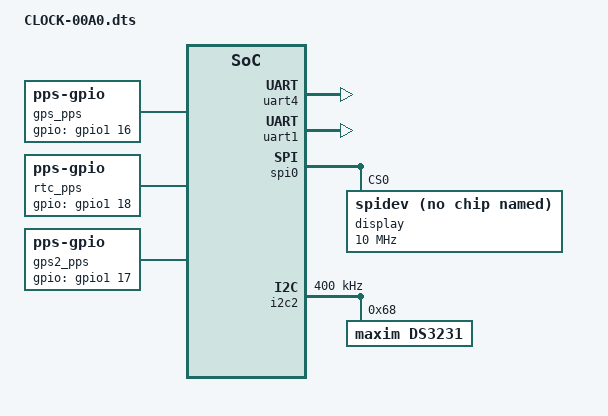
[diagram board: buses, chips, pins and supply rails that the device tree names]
/dts-v1/;
/plugin/;

#include <dt-bindings/board/am335x-bbw-bbb-base.h>
#include <dt-bindings/gpio/gpio.h>
#include <dt-bindings/pinctrl/am33xx.h>

/ {
        compatible = "ti,beaglebone", "ti,beaglebone-black", "ti,beaglebone-green";

        /* identification */
        part-number = "CLOCK";
        version = "00A0";

        exclusive-use =
                "P9.11", "P9.13", "P9.15", "uart4", // gps and pps
                "P9.17", "P9.18", "P9.21", "P9.22", "spi0", // spi display
                "P9.19", "P9.20", "i2c2", "P9.12", "P9.14", // rtc (2 pps pins, DS3231's 32KHz and SQW)
		"P9.24", "P9.26", "P9.23", "uart1"; // gps2 and pps

        fragment@0 {
                target = <&ocp>;
                __overlay__ {
                        P9_11_pinmux { status = "disabled"; };
                        P9_13_pinmux { status = "disabled"; };
                        P9_15_pinmux { status = "disabled"; };

                        P9_17_pinmux { status = "disabled"; };
                        P9_18_pinmux { status = "disabled"; };
                        P9_21_pinmux { status = "disabled"; };
                        P9_22_pinmux { status = "disabled"; };

                        P9_19_pinmux { status = "disabled"; };
                        P9_20_pinmux { status = "disabled"; };
                        P9_12_pinmux { status = "disabled"; };
                        P9_14_pinmux { status = "disabled"; };

                        P9_24_pinmux { status = "disabled"; };
                        P9_26_pinmux { status = "disabled"; };
                        P9_23_pinmux { status = "disabled"; };
                };
        };

        fragment@1 {
                target = <&am33xx_pinmux>;
                __overlay__ {
                        bb_uart4_pins: pinmux_bb_uart4_pins {
                                pinctrl-single,pins = <
                                        BONE_P9_13 (PIN_OUTPUT | MUX_MODE6)
                                        BONE_P9_11 (PIN_INPUT | MUX_MODE6)
                                >;
                        };

                        bb_gps_pps_pins: pinmux_bb_gps_pps_pins {
                                pinctrl-single,pins = <
                                        BONE_P9_15 (PIN_INPUT_PULLDOWN | MUX_MODE7)
                                >;
                        };

			bb_uart1_pins: pinmux_bb_uart1_pins {
                                pinctrl-single,pins = <
                                        BONE_P9_24 (PIN_OUTPUT | MUX_MODE0)
                                        BONE_P9_26 (PIN_INPUT | MUX_MODE0)
                                >;
			};

			bb_gps2_pps_pins: pinmux_bb_gps2_pps_pins {
                                pinctrl-single,pins = <
                                        BONE_P9_23 (PIN_INPUT_PULLDOWN | MUX_MODE7)
                                >;
			};

                        bb_spi0_pins: pinmux_bb_spi0_pins {
                                pinctrl-single,pins = <
                                        BONE_P9_22 (PIN_INPUT_PULLUP | MUX_MODE0)
                                        BONE_P9_21 (PIN_INPUT_PULLUP | MUX_MODE0)
                                        BONE_P9_18 (PIN_OUTPUT_PULLUP | MUX_MODE0)
                                        BONE_P9_17 (PIN_OUTPUT_PULLUP | MUX_MODE0)
                                >;
                        };

                        bb_i2c2_pins: pinmux_bb_i2c2_pins {
                                pinctrl-single,pins = <
                                        BONE_P9_20 (SLEWCTRL_SLOW | PIN_INPUT_PULLUP | MUX_MODE3)
                                        BONE_P9_19 (SLEWCTRL_SLOW | PIN_INPUT_PULLUP | MUX_MODE3)
                                >;
                        };

                        bb_rtc_pps_pins: pinmux_bb_rtc_pps_pins {
                                pinctrl-single,pins = <
                                        BONE_P9_14 (PIN_INPUT_PULLUP | MUX_MODE7)
                                >;
                        };

                        bb_rtc_32k_pins: pinmux_bb_rtc_32k_pins {
                                pinctrl-single,pins = <
                                        BONE_P9_12 (PIN_INPUT_PULLUP | MUX_MODE7)
                                >;
                        };
                };
        };

        fragment@2 {
                target = <&uart4>;
                __overlay__ {
                        status = "okay";
                        pinctrl-names = "default";
                        pinctrl-0 = <&bb_uart4_pins>;
               };
        };

	fragment@12 {
		target = <&uart1>;
		__overlay__ {
			status = "okay";
			pinctrl-names = "default";
			pinctrl-0 = <&bb_uart1_pins>;
		};
	};

        fragment@3 {
                target = <&ocp>;
                __overlay__ {
                        gps_pps {
                                status = "okay";
                                compatible = "pps-gpio";
                                pinctrl-names = "default";
                                pinctrl-0 = <&bb_gps_pps_pins>;
                                gpios = <&gpio1 16 0>;
                        };

                        rtc_pps {
                                status = "okay";
                                compatible = "pps-gpio";
                                pinctrl-names = "default";
                                pinctrl-0 = <&bb_rtc_pps_pins>;
                                gpios = <&gpio1 18 0>;
                        };

			gps2_pps {
                                status = "okay";
                                compatible = "pps-gpio";
                                pinctrl-names = "default";
                                pinctrl-0 = <&bb_gps2_pps_pins>;
                                gpios = <&gpio1 17 0>;
			};
                };
        };

        fragment@4 {
                target = <&spi0>;
                __overlay__ {
                        #address-cells = <1>;
                        #size-cells = <0>;
                        status = "okay";
                        pinctrl-names = "default";
                        pinctrl-0 = <&bb_spi0_pins>;

                        display@0 {
                                status = "okay";
                                compatible = "spidev";
                                spi-max-frequency = <10000000>;
                                reg = <0>;
                        };
                };
        };

        fragment@5 {
                target = <&i2c2>;
                __overlay__ {
                        status = "okay";
                        pinctrl-names = "default";
                        pinctrl-0 = <&bb_i2c2_pins>;
                        clock-frequency = <400000>;
                        #address-cells = <1>;
                        #size-cells = <0>;

                        ds3231: ds3231@51 {
                                status = "okay";
                                compatible = "maxim,ds3231";
                                reg = <0x68>;
                                #clock-cells = <1>;
                       };
                };
        };

        fragment@6 {
                target-path="/";
                __overlay__ {
                        aliases {
                                rtc0 = "/ocp/i2c@4819c000/ds3231@51";
                                rtc1 = "/ocp/rtc@44e3e000";
                        };
                };
        };
};
